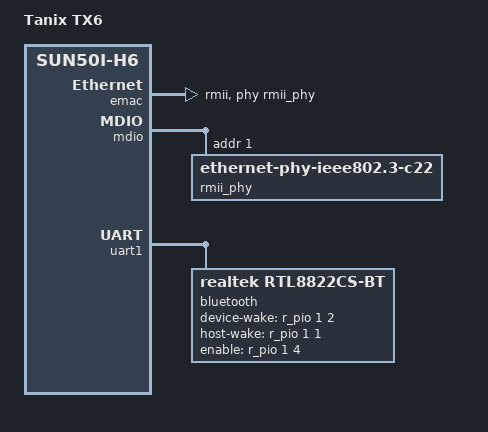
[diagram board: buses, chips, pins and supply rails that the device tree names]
// SPDX-License-Identifier: (GPL-2.0+ OR MIT)
// Copyright (c) 2019 Jernej Skrabec <jernej.skrabec@siol.net>

/dts-v1/;

#include "sun50i-h6-tanix.dtsi"

/ {
	model = "Tanix TX6";
	compatible = "oranth,tanix-tx6", "allwinner,sun50i-h6";

	aliases {
		ethernet0 = &emac;
		serial0 = &uart0;
	};
};

&emac {
	pinctrl-names = "default";
	pinctrl-0 = <&ext_rmii_pins>;
	phy-mode = "rmii";
	phy-handle = <&rmii_phy>;
	status = "okay";
};

&mdio {
	rmii_phy: ethernet-phy@1 {
		compatible = "ethernet-phy-ieee802.3-c22";
		reg = <1>;
	};
};

&r_ir {
	linux,rc-map-name = "rc-tanix-tx5max";
};

&uart1 {
	pinctrl-names = "default";
	pinctrl-0 = <&uart1_pins>, <&uart1_rts_cts_pins>;
	uart-has-rtscts;
	status = "okay";

	bluetooth {
		compatible = "realtek,rtl8822cs-bt";
		device-wake-gpios = <&r_pio 1 2 GPIO_ACTIVE_HIGH>; /* PM2 */
		host-wake-gpios = <&r_pio 1 1 GPIO_ACTIVE_HIGH>; /* PM1 */
		enable-gpios = <&r_pio 1 4 GPIO_ACTIVE_HIGH>; /* PM4 */
	};
};
